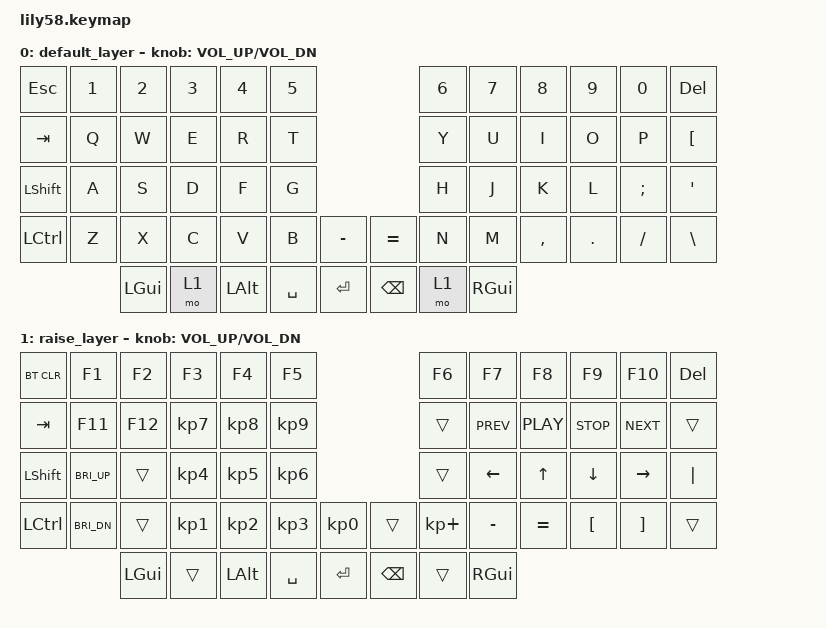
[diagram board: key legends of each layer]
#include <behaviors.dtsi>

#include <dt-bindings/zmk/keys.h>

#include <dt-bindings/zmk/bt.h>

#include <dt-bindings/zmk/ext_power.h>



/ {

    keymap {

        compatible = "zmk,keymap";



        default_layer {







            bindings = <

                &kp ESC   &kp N1 &kp N2 &kp N3   &kp N4   &kp N5                      &kp N6   &kp N7 &kp N8    &kp N9  &kp N0   &kp DEL

                &kp TAB   &kp Q  &kp W  &kp E    &kp R    &kp T                       &kp Y    &kp U  &kp I     &kp O   &kp P    &kp LBKT

                &kp LSHFT &kp A  &kp S  &kp D    &kp F    &kp G                       &kp H    &kp J  &kp K     &kp L   &kp SEMI &kp SQT

                &kp LCTRL &kp Z  &kp X  &kp C    &kp V    &kp B  &kp MINUS  &kp EQUAL &kp N    &kp M  &kp COMMA &kp DOT &kp FSLH &kp BSLH

                                &kp LGUI &mo 1 &kp LALT  &kp SPACE  &kp RET   &kp BSPC &mo 1  &kp RGUI

            >;



            sensor-bindings = <&inc_dec_kp C_VOL_UP C_VOL_DN>;

        };



        raise_layer {







            bindings = <

                &bt BT_CLR &kp F1        &kp F2   &kp F3    &kp F4    &kp F5                      &kp F6      &kp F7    &kp F8    &kp F9     &kp F10    &kp DEL

                &kp TAB    &kp F11       &kp F12  &kp KP_N7 &kp KP_N8 &kp KP_N9                   &trans      &kp C_PREV &kp C_PLAY &kp C_STOP &kp C_NEXT &trans

                &kp LSHFT  &kp C_BRI_UP  &trans   &kp KP_N4 &kp KP_N5 &kp KP_N6                   &trans      &kp LEFT  &kp UP    &kp DOWN   &kp RIGHT  &kp PIPE

                &kp LCTRL  &kp C_BRI_DN  &trans   &kp KP_N1 &kp KP_N2 &kp KP_N3 &kp KP_N0  &trans &kp KP_PLUS &kp MINUS &kp EQUAL &kp LBKT   &kp RBKT   &trans

                                 &kp LGUI &trans    &kp LALT  &kp SPACE  &kp RET          &kp BSPC    &trans    &kp RGUI

            >;



            sensor-bindings = <&inc_dec_kp C_VOL_UP C_VOL_DN>;

        };

    };

